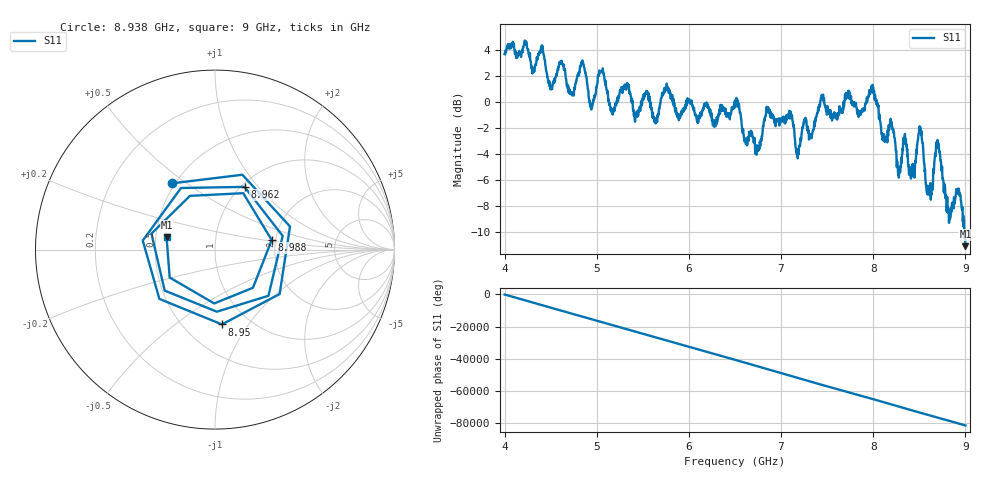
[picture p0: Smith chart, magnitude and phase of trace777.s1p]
! Created with skrf 1.8.0 (http://scikit-rf.org).
# Hz S RI R 50.0
!freq ReS11 ImS11
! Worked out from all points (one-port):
!   1601 points, 4 GHz to 9 GHz, reference 50 ohm
!   lowest |S11| = -11.1 dB at 9 GHz (marker M1), VSWR 1.77, Z = 28.5 + j4.28 ohm
!   |S11| at or under -10 dB: 8.988596 GHz to end of sweep
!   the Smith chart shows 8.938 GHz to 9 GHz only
!   S11 on the Smith chart (normalised r, x): 8.938 GHz: 0.48, +0.44; 8.95 GHz: 0.75, -0.76; 8.962 GHz: 1.04, +0.85; 8.988 GHz: 1.91, +0.23; 9 GHz: 0.57, +0.09
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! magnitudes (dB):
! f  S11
! 4 GHz  3.7
! 4.625 GHz  2.9
! 4.728 GHz  0.6
! 4.847 GHz  2.9
! 4.938 GHz  -0.5
! 5.05 GHz  2.3
! 5.159 GHz  -0.7
! 5.25 GHz  0.8
! 5.875 GHz  -1.2
! 6.5 GHz  -0.4
! 6.741 GHz  -3.6
! 6.853 GHz  -0.5
! 7.125 GHz  -1.5
! 7.181 GHz  -4.4
! 7.441 GHz  0.5
! 7.75 GHz  0.4
! 7.997 GHz  1.1
! 8.275 GHz  -5.2
! 8.375 GHz  -4.1
! 8.512 GHz  -2.2
! 8.603 GHz  -7.0
! 8.7 GHz  -3.2
! 8.819 GHz  -8.5
! 8.938 GHz  -7.1
! 8.95 GHz  -7.6
! 8.962 GHz  -8.3
! 8.988 GHz  -9.9
! 9 GHz  -11.1
